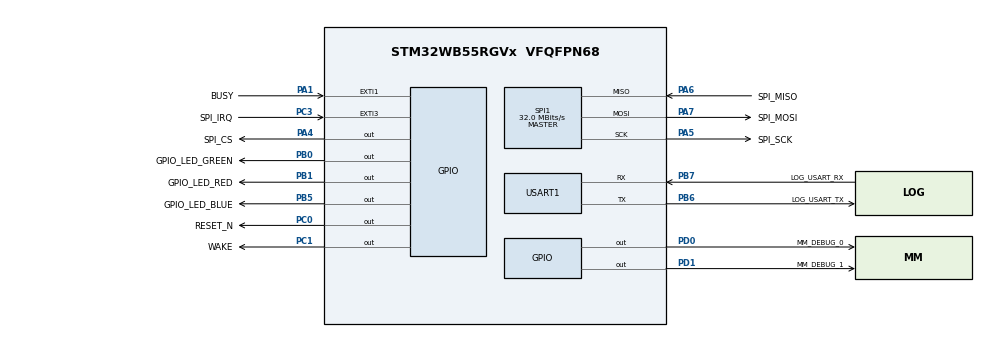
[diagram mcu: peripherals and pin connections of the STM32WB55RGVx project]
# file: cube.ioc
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Dma.Request0=SPI1_RX
Dma.Request1=SPI1_TX
Dma.SPI1_RX.0.Direction=DMA_PERIPH_TO_MEMORY
Dma.SPI1_RX.0.EventEnable=DISABLE
Dma.SPI1_RX.0.Instance=DMA1_Channel1
Dma.SPI1_RX.0.MemDataAlignment=DMA_MDATAALIGN_BYTE
Dma.SPI1_RX.0.MemInc=DMA_MINC_ENABLE
Dma.SPI1_RX.0.Mode=DMA_NORMAL
Dma.SPI1_RX.0.PeriphDataAlignment=DMA_PDATAALIGN_BYTE
Dma.SPI1_RX.0.PeriphInc=DMA_PINC_DISABLE
Dma.SPI1_RX.0.Polarity=HAL_DMAMUX_REQ_GEN_RISING
Dma.SPI1_RX.0.Priority=DMA_PRIORITY_LOW
Dma.SPI1_RX.0.RequestNumber=1
Dma.SPI1_RX.0.SignalID=NONE
Dma.SPI1_RX.0.SyncEnable=DISABLE
Dma.SPI1_RX.0.SyncPolarity=HAL_DMAMUX_SYNC_NO_EVENT
Dma.SPI1_RX.0.SyncRequestNumber=1
Dma.SPI1_RX.0.SyncSignalID=NONE
Dma.SPI1_TX.1.Direction=DMA_MEMORY_TO_PERIPH
Dma.SPI1_TX.1.EventEnable=DISABLE
Dma.SPI1_TX.1.Instance=DMA1_Channel2
Dma.SPI1_TX.1.MemDataAlignment=DMA_MDATAALIGN_BYTE
Dma.SPI1_TX.1.MemInc=DMA_MINC_ENABLE
Dma.SPI1_TX.1.Mode=DMA_NORMAL
Dma.SPI1_TX.1.PeriphDataAlignment=DMA_PDATAALIGN_BYTE
Dma.SPI1_TX.1.PeriphInc=DMA_PINC_DISABLE
Dma.SPI1_TX.1.Polarity=HAL_DMAMUX_REQ_GEN_RISING
Dma.SPI1_TX.1.Priority=DMA_PRIORITY_LOW
Dma.SPI1_TX.1.RequestNumber=1
Dma.SPI1_TX.1.SignalID=NONE
Dma.SPI1_TX.1.SyncEnable=DISABLE
Dma.SPI1_TX.1.SyncPolarity=HAL_DMAMUX_SYNC_NO_EVENT
Dma.SPI1_TX.1.SyncRequestNumber=1
Dma.SPI1_TX.1.SyncSignalID=NONE
LPTIM1.ClockPrescaler=LPTIM_PRESCALER_DIV4
Mcu.Family=STM32WB
Mcu.Name=STM32WB55RGVx
Mcu.Package=VFQFPN68
NVIC.DMA1_Channel1_IRQn=true\:15\:0\:true\:false\:false\:false\:true\:true
NVIC.EXTI1_IRQn=true\:15\:0\:true\:false\:false\:true\:true\:false
NVIC.EXTI3_IRQn=true\:15\:0\:true\:false\:false\:true\:true\:false
NVIC.LPTIM1_IRQn=true\:0\:0\:true\:false\:false\:true\:true\:true
NVIC.PriorityGroup=NVIC_PRIORITYGROUP_4
NVIC.TimeBase=None
NVIC.USART1_IRQn=true\:15\:0\:true\:false\:false\:true\:true\:true
OSC_IN.Mode=HSE-External-Oscillator
OSC_IN.Signal=RCC_OSC_IN
OSC_OUT.Mode=HSE-External-Oscillator
OSC_OUT.Signal=RCC_OSC_OUT
PA1.GPIO_Label=BUSY
PA1.GPIO_ModeDefaultEXTI=GPIO_MODE_IT_RISING
PA1.GPIO_PuPd=GPIO_PULLDOWN
PA1.Signal=GPXTI1
PA13.GPIO_Label=JTMS
PA13.Mode=Serial_Wire
PA13.Signal=SYS_JTMS-SWDIO
PA14.GPIO_Label=JTCK
PA14.Mode=Serial_Wire
PA14.Signal=SYS_JTCK-SWCLK
PA4.GPIO_Label=SPI_CS
PA4.Signal=GPIO_Output
PA5.GPIO_Label=SPI_SCK
PA5.GPIO_Speed=GPIO_SPEED_FREQ_VERY_HIGH
PA5.Mode=Full_Duplex_Master
PA5.Signal=SPI1_SCK
PA6.GPIO_Label=SPI_MISO
PA6.GPIO_Speed=GPIO_SPEED_FREQ_VERY_HIGH
PA6.Mode=Full_Duplex_Master
PA6.Signal=SPI1_MISO
PA7.GPIO_Label=SPI_MOSI
PA7.GPIO_Speed=GPIO_SPEED_FREQ_VERY_HIGH
PA7.Mode=Full_Duplex_Master
PA7.Signal=SPI1_MOSI
PB0.GPIO_Label=GPIO_LED_GREEN
PB0.Signal=GPIO_Output
PB1.GPIO_Label=GPIO_LED_RED
PB1.Signal=GPIO_Output
PB3.GPIO_Label=JTDO
PB3.Signal=SYS_JTDO-SWO
PB5.GPIO_Label=GPIO_LED_BLUE
PB5.Signal=GPIO_Output
PB6.GPIO_Label=LOG_USART_TX
PB6.GPIO_PuPd=GPIO_NOPULL
PB6.Mode=Asynchronous
PB6.Signal=USART1_TX
PB7.GPIO_Label=LOG_USART_RX
PB7.GPIO_PuPd=GPIO_NOPULL
PB7.Mode=Asynchronous
PB7.Signal=USART1_RX
PC0.GPIO_Label=RESET_N
PC0.Signal=GPIO_Output
PC1.GPIO_Label=WAKE
PC1.Signal=GPIO_Output
PC14-OSC32_IN.Mode=LSE-External-Oscillator
PC14-OSC32_IN.Signal=RCC_OSC32_IN
PC15-OSC32_OUT.Mode=LSE-External-Oscillator
PC15-OSC32_OUT.Signal=RCC_OSC32_OUT
PC3.GPIO_Label=SPI_IRQ
PC3.GPIO_ModeDefaultEXTI=GPIO_MODE_IT_FALLING
PC3.Signal=GPXTI3
PD0.GPIO_Label=MM_DEBUG_0
PD0.Signal=GPIO_Output
PD1.GPIO_Label=MM_DEBUG_1
PD1.Signal=GPIO_Output
ProjectManager.HeapSize=0x200
ProjectManager.StackSize=0x400
ProjectManager.TargetToolchain=STM32CubeIDE
RCC.ADCFreq_Value=48000000
RCC.AHB2CLKDivider=RCC_SYSCLK_DIV2
RCC.AHBFreq_Value=64000000
RCC.APB1Freq_Value=64000000
RCC.APB1TimFreq_Value=64000000
RCC.APB2Freq_Value=64000000
RCC.APB2TimFreq_Value=64000000
RCC.APB3Freq_Value=16000000
RCC.CK48CLockSelection=RCC_USBCLKSOURCE_HSI48
RCC.Cortex2_Div=SYSTICK_CLKSOURCE_HCLK_DIV8
RCC.CortexFreq_Value=64000000
RCC.HCLKFreq_Value=64000000
RCC.HSE_VALUE=32000000
RCC.HSI48_VALUE=48000000
RCC.HSI_VALUE=16000000
RCC.LPTIM1CLockSelection=RCC_LPTIM1CLKSOURCE_LSE
RCC.LSE_Drive_Capability=RCC_LSEDRIVE_LOW
RCC.PLLN=32
RCC.PLLSAI1N=24
RCC.RNGCLockSelection=RCC_RNGCLKSOURCE_CLK48
RCC.RTCClockSelection=RCC_RTCCLKSOURCE_LSE
RCC.SMPSCLockSelection=RCC_SMPSCLKSOURCE_HSI
RCC.SMPSCLockSelectionVirtual=RCC_SMPSCLKSOURCE_HSI
RCC.SMPSCLockSelectionVirtualVirtual=RCC_SMPSCLKSOURCE_HSI
RCC.SMPSDivider=1
RCC.SYSCLKFreq_VALUE=64000000
RCC.SYSCLKSource=RCC_SYSCLKSOURCE_PLLCLK
RCC.USBFreq_Value=48000000
RCC.VCOOutputFreq_Value=128000000
SPI1.BaudRatePrescaler=SPI_BAUDRATEPRESCALER_2
SPI1.CRCCalculation=SPI_CRCCALCULATION_DISABLE
SPI1.CalculateBaudRate=32.0 MBits/s
SPI1.DataSize=SPI_DATASIZE_8BIT
SPI1.Direction=SPI_DIRECTION_2LINES
SPI1.Mode=SPI_MODE_MASTER
SPI1.NSSPMode=SPI_NSS_PULSE_DISABLE
SPI1.VirtualType=VM_MASTER
USART1.VirtualMode-Asynchronous=VM_ASYNC
USART1.WordLength=WORDLENGTH_8B
VP_LPTIM1_VS_LPTIM_counterModeInternalClock.Mode=Counts__internal_clock_event_00
VP_MEMORYMAP_VS_MEMORYMAP.Mode=CurAppReg
VP_PKA_VS_PKA.Mode=PKA_Activate
VP_RNG_VS_RNG.Mode=RNG_Activate
VP_RTC_VS_RTC_Activate.Mode=RTC_Enabled
VP_SYS_VS_None.Mode=None
board=P-NUCLEO-WB55-Nucleo

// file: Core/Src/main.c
/* USER CODE BEGIN Header */
/**
  ******************************************************************************
  * @file           : main.c
  * @brief          : Main program body
  ******************************************************************************
  * @attention
  *
  * <h2><center>&copy; Copyright (c) 2022 STMicroelectronics.
  * All rights reserved.</center></h2>
  *
  * This software component is licensed by ST under Ultimate Liberty license
  * SLA0044, the "License"; You may not use this file except in compliance with
  * the License. You may obtain a copy of the License at:
  *                             www.st.com/SLA0044
  *
  ******************************************************************************
  */
/* USER CODE END Header */
#include "main.h"

/* USER CODE BEGIN Includes */
#include "mmosal.h"
/* USER CODE END Includes */

PKA_HandleTypeDef hpka;

void SystemClock_Config(void);
void PeriphCommonClock_Config(void);
static void MX_GPIO_Init(void);
static void MX_DMA_Init(void);
static void MX_USART1_UART_Init(void);
static void MX_SPI1_Init(void);
static void MX_RNG_Init(void);
static void MX_RTC_Init(void);
static void MX_LPTIM1_Init(void);
static void MX_PKA_Init(void);
/* USER CODE BEGIN PFP */
void app_init(void);
/* USER CODE END PFP */

int main(void)
{

  /* MCU Configuration--------------------------------------------------------*/

  /* Reset of all peripherals, Initializes the Flash interface and the Systick. */
  HAL_Init();

  /* Configure the system clock */
  SystemClock_Config();

  /* Configure the peripherals common clocks */
  PeriphCommonClock_Config();

  /* Initialize all configured peripherals */
  MX_GPIO_Init();
  MX_DMA_Init();
  MX_USART1_UART_Init();
  MX_SPI1_Init();
  MX_RNG_Init();
  MX_RTC_Init();
  MX_LPTIM1_Init();
  MX_PKA_Init();
  /* USER CODE BEGIN 2 */
#if defined(ENABLE_DEBUG_IN_STOP_MODE) && ENABLE_DEBUG_IN_STOP_MODE
  LL_DBGMCU_EnableDBGStopMode();
  printf("\nNote: This firmware has been built with debug in stop mode enabled.\n");
  printf("This will impact power consumption and should be disabled for production firmware.\n");
#endif
  mmosal_main(app_init);
  /* USER CODE END 2 */

  /* Infinite loop */
  while (1)
  {

  }
}

void SystemClock_Config(void)
{
  LL_FLASH_SetLatency(LL_FLASH_LATENCY_3);
  while(LL_FLASH_GetLatency() != LL_FLASH_LATENCY_3)
  {
  }

  /* HSE configuration and activation */
  LL_RCC_HSE_Enable();
  while(LL_RCC_HSE_IsReady() != 1)
  {
  }

  /* HSI configuration and activation */
  LL_RCC_HSI_Enable();
  while(LL_RCC_HSI_IsReady() != 1)
  {
  }

  /* HSI48 configuration and activation */
  LL_RCC_HSI48_Enable();
  while(LL_RCC_HSI48_IsReady() != 1)
  {
  }

  /* MSI configuration and activation */
  LL_RCC_MSI_Enable();
  while(LL_RCC_MSI_IsReady() != 1)
  {
  }

  LL_PWR_EnableBkUpAccess();
  LL_RCC_LSE_SetDriveCapability(LL_RCC_LSEDRIVE_LOW);
  LL_RCC_LSE_Enable();

  /* Wait till LSE is ready */
  while(LL_RCC_LSE_IsReady() != 1)
  {
  }

  /* Main PLL configuration and activation */
  LL_RCC_PLL_ConfigDomain_SYS(LL_RCC_PLLSOURCE_MSI, LL_RCC_PLLM_DIV_1, 32, LL_RCC_PLLR_DIV_2);
  LL_RCC_PLL_Enable();
  LL_RCC_PLL_EnableDomain_SYS();
  while(LL_RCC_PLL_IsReady() != 1)
  {
  }

  /* Sysclk activation on the main PLL */
  /* Set CPU1 prescaler*/
  LL_RCC_SetAHBPrescaler(LL_RCC_SYSCLK_DIV_1);

  /* Set CPU2 prescaler*/
  LL_C2_RCC_SetAHBPrescaler(LL_RCC_SYSCLK_DIV_2);

  LL_RCC_SetSysClkSource(LL_RCC_SYS_CLKSOURCE_PLL);
  while(LL_RCC_GetSysClkSource() != LL_RCC_SYS_CLKSOURCE_STATUS_PLL)
  {
  }

  /* Set AHB SHARED prescaler*/
  LL_RCC_SetAHB4Prescaler(LL_RCC_SYSCLK_DIV_1);

  /* Set APB1 prescaler*/
  LL_RCC_SetAPB1Prescaler(LL_RCC_APB1_DIV_1);

  /* Set APB2 prescaler*/
  LL_RCC_SetAPB2Prescaler(LL_RCC_APB2_DIV_1);

  /* Update CMSIS variable (which can be updated also through SystemCoreClockUpdate function) */
  LL_SetSystemCoreClock(64000000);

   /* Update the time base */
  if (HAL_InitTick (TICK_INT_PRIORITY) != HAL_OK)
  {
    Error_Handler();
  }
}

void PeriphCommonClock_Config(void)
{
  LL_RCC_SetSMPSClockSource(LL_RCC_SMPS_CLKSOURCE_HSI);
  LL_RCC_SetSMPSPrescaler(LL_RCC_SMPS_DIV_0);
  LL_RCC_SetRFWKPClockSource(LL_RCC_RFWKP_CLKSOURCE_NONE);
}

static void MX_LPTIM1_Init(void)
{

  LL_RCC_SetLPTIMClockSource(LL_RCC_LPTIM1_CLKSOURCE_LSE);

  /* Peripheral clock enable */
  LL_APB1_GRP1_EnableClock(LL_APB1_GRP1_PERIPH_LPTIM1);

  /* LPTIM1 interrupt Init */
  NVIC_SetPriority(LPTIM1_IRQn, NVIC_EncodePriority(NVIC_GetPriorityGrouping(),0, 0));
  NVIC_EnableIRQ(LPTIM1_IRQn);

  LL_LPTIM_SetClockSource(LPTIM1, LL_LPTIM_CLK_SOURCE_INTERNAL);
  LL_LPTIM_SetPrescaler(LPTIM1, LL_LPTIM_PRESCALER_DIV4);
  LL_LPTIM_SetPolarity(LPTIM1, LL_LPTIM_OUTPUT_POLARITY_REGULAR);
  LL_LPTIM_SetUpdateMode(LPTIM1, LL_LPTIM_UPDATE_MODE_IMMEDIATE);
  LL_LPTIM_SetCounterMode(LPTIM1, LL_LPTIM_COUNTER_MODE_INTERNAL);
  LL_LPTIM_TrigSw(LPTIM1);
  LL_LPTIM_SetInput1Src(LPTIM1, LL_LPTIM_INPUT1_SRC_GPIO);
  LL_LPTIM_SetInput2Src(LPTIM1, LL_LPTIM_INPUT2_SRC_GPIO);
  /* USER CODE BEGIN LPTIM1_Init 2 */

  /* Must be done when the LPTIM is disabled. */
  LL_LPTIM_EnableIT_CMPM(LPTIM1);

  /* We enable the LPTIM in continuous mode and leave it running. We then use the compare match
   * functionality for tracking time whilst in deep sleep. This avoids having to wait the
   * synchronisation delay (3 cycles). */
  LL_LPTIM_Enable(LPTIM1);

  LL_LPTIM_ClearFlag_ARROK(LPTIM1);
  LL_LPTIM_SetAutoReload(LPTIM1, UINT16_MAX);
  while (!LL_LPTIM_IsActiveFlag_ARROK(LPTIM1))
  {
  }

  LL_LPTIM_StartCounter(LPTIM1, LL_LPTIM_OPERATING_MODE_CONTINUOUS);

  /* USER CODE END LPTIM1_Init 2 */

}

static void MX_PKA_Init(void)
{

  hpka.Instance = PKA;
  if (HAL_PKA_Init(&hpka) != HAL_OK)
  {
    Error_Handler();
  }

}

static void MX_RNG_Init(void)
{

  LL_RCC_SetRNGClockSource(LL_RCC_RNG_CLKSOURCE_CLK48);
  LL_RCC_SetCLK48ClockSource(LL_RCC_CLK48_CLKSOURCE_HSI48);

  /* Peripheral clock enable */
  LL_AHB3_GRP1_EnableClock(LL_AHB3_GRP1_PERIPH_RNG);

  LL_RNG_Enable(RNG);
  LL_RNG_EnableClkErrorDetect(RNG);

}

static void MX_RTC_Init(void)
{

  LL_RTC_InitTypeDef RTC_InitStruct = {0};

     uint32_t rtcclocksource = LL_RCC_GetRTCClockSource();

    /* Configure the clock source only if a different source is expected */
    if(rtcclocksource != LL_RCC_RTC_CLKSOURCE_LSE)
    {
      LL_PWR_EnableBkUpAccess();
      if(rtcclocksource == LL_RCC_RTC_CLKSOURCE_NONE)
      {
        /* Directly set the configuration of the clock source selection */
        LL_RCC_SetRTCClockSource(LL_RCC_RTC_CLKSOURCE_LSE);
      }
     else
     {
      /* Store the content of BDCR register before the reset of Backup Domain */
      uint32_t bdcr = LL_RCC_ReadReg(BDCR);

      /* RTC Clock selection can be changed only if the Backup Domain is reset */
      LL_RCC_ForceBackupDomainReset();
      LL_RCC_ReleaseBackupDomainReset();

      /* Set the value of the clock source selection */
      MODIFY_REG(bdcr, RCC_BDCR_RTCSEL, LL_RCC_RTC_CLKSOURCE_LSE);

      /* Restore the content of BDCR register */
      LL_RCC_WriteReg(BDCR, bdcr);

      /* Wait for LSE reactivation if LSE was enable prior to Backup Domain reset */
      if (LL_RCC_LSE_IsEnabled() == 1U)
      {
        /* Wait till LSE is ready */
        while (LL_RCC_LSE_IsReady() != 1U);
      }
    }
  }
  LL_RCC_EnableRTC();

  /* Peripheral clock enable */
  LL_RCC_EnableRTC();
  LL_APB2_GRP1_EnableClock(LL_APB1_GRP1_PERIPH_RTCAPB);

  RTC_InitStruct.HourFormat = LL_RTC_HOURFORMAT_24HOUR;
  RTC_InitStruct.AsynchPrescaler = 127;
  RTC_InitStruct.SynchPrescaler = 255;
  LL_RTC_Init(RTC, &RTC_InitStruct);

}

static void MX_SPI1_Init(void)
{

  LL_SPI_InitTypeDef SPI_InitStruct = {0};

  LL_GPIO_InitTypeDef GPIO_InitStruct = {0};

  /* Peripheral clock enable */
  LL_APB2_GRP1_EnableClock(LL_APB2_GRP1_PERIPH_SPI1);

  LL_AHB2_GRP1_EnableClock(LL_AHB2_GRP1_PERIPH_GPIOA);
  /**SPI1 GPIO Configuration
  PA5   ------> SPI1_SCK
  PA6   ------> SPI1_MISO
  PA7   ------> SPI1_MOSI
  */
  GPIO_InitStruct.Pin = SPI_SCK_Pin|SPI_MISO_Pin|SPI_MOSI_Pin;
  GPIO_InitStruct.Mode = LL_GPIO_MODE_ALTERNATE;
  GPIO_InitStruct.Speed = LL_GPIO_SPEED_FREQ_VERY_HIGH;
  GPIO_InitStruct.OutputType = LL_GPIO_OUTPUT_PUSHPULL;
  GPIO_InitStruct.Pull = LL_GPIO_PULL_NO;
  GPIO_InitStruct.Alternate = LL_GPIO_AF_5;
  LL_GPIO_Init(GPIOA, &GPIO_InitStruct);

  /* SPI1 DMA Init */

  /* SPI1_RX Init */
  LL_DMA_SetPeriphRequest(DMA1, LL_DMA_CHANNEL_1, LL_DMAMUX_REQ_SPI1_RX);

  LL_DMA_SetDataTransferDirection(DMA1, LL_DMA_CHANNEL_1, LL_DMA_DIRECTION_PERIPH_TO_MEMORY);

  LL_DMA_SetChannelPriorityLevel(DMA1, LL_DMA_CHANNEL_1, LL_DMA_PRIORITY_LOW);

  LL_DMA_SetMode(DMA1, LL_DMA_CHANNEL_1, LL_DMA_MODE_NORMAL);

  LL_DMA_SetPeriphIncMode(DMA1, LL_DMA_CHANNEL_1, LL_DMA_PERIPH_NOINCREMENT);

  LL_DMA_SetMemoryIncMode(DMA1, LL_DMA_CHANNEL_1, LL_DMA_MEMORY_INCREMENT);

  LL_DMA_SetPeriphSize(DMA1, LL_DMA_CHANNEL_1, LL_DMA_PDATAALIGN_BYTE);

  LL_DMA_SetMemorySize(DMA1, LL_DMA_CHANNEL_1, LL_DMA_MDATAALIGN_BYTE);

  /* SPI1_TX Init */
  LL_DMA_SetPeriphRequest(DMA1, LL_DMA_CHANNEL_2, LL_DMAMUX_REQ_SPI1_TX);

  LL_DMA_SetDataTransferDirection(DMA1, LL_DMA_CHANNEL_2, LL_DMA_DIRECTION_MEMORY_TO_PERIPH);

  LL_DMA_SetChannelPriorityLevel(DMA1, LL_DMA_CHANNEL_2, LL_DMA_PRIORITY_LOW);

  LL_DMA_SetMode(DMA1, LL_DMA_CHANNEL_2, LL_DMA_MODE_NORMAL);

  LL_DMA_SetPeriphIncMode(DMA1, LL_DMA_CHANNEL_2, LL_DMA_PERIPH_NOINCREMENT);

  LL_DMA_SetMemoryIncMode(DMA1, LL_DMA_CHANNEL_2, LL_DMA_MEMORY_INCREMENT);

  LL_DMA_SetPeriphSize(DMA1, LL_DMA_CHANNEL_2, LL_DMA_PDATAALIGN_BYTE);

  LL_DMA_SetMemorySize(DMA1, LL_DMA_CHANNEL_2, LL_DMA_MDATAALIGN_BYTE);

  /* USER CODE BEGIN SPI1_Init 1 */
  LL_DMA_EnableIT_TC(SPI_DMA_PERIPH, SPI_RX_DMA_CHANNEL);
  /* USER CODE END SPI1_Init 1 */
  /* SPI1 parameter configuration*/
  SPI_InitStruct.TransferDirection = LL_SPI_FULL_DUPLEX;
  SPI_InitStruct.Mode = LL_SPI_MODE_MASTER;
  SPI_InitStruct.DataWidth = LL_SPI_DATAWIDTH_8BIT;
  SPI_InitStruct.ClockPolarity = LL_SPI_POLARITY_LOW;
  SPI_InitStruct.ClockPhase = LL_SPI_PHASE_1EDGE;
  SPI_InitStruct.NSS = LL_SPI_NSS_SOFT;
  SPI_InitStruct.BaudRate = LL_SPI_BAUDRATEPRESCALER_DIV2;
  SPI_InitStruct.BitOrder = LL_SPI_MSB_FIRST;
  SPI_InitStruct.CRCCalculation = LL_SPI_CRCCALCULATION_DISABLE;
  SPI_InitStruct.CRCPoly = 7;
  LL_SPI_Init(SPI1, &SPI_InitStruct);
  LL_SPI_SetStandard(SPI1, LL_SPI_PROTOCOL_MOTOROLA);
  LL_SPI_DisableNSSPulseMgt(SPI1);

}

static void MX_USART1_UART_Init(void)
{

  LL_USART_InitTypeDef USART_InitStruct = {0};

  LL_GPIO_InitTypeDef GPIO_InitStruct = {0};

  LL_RCC_SetUSARTClockSource(LL_RCC_USART1_CLKSOURCE_PCLK2);

  /* Peripheral clock enable */
  LL_APB2_GRP1_EnableClock(LL_APB2_GRP1_PERIPH_USART1);

  LL_AHB2_GRP1_EnableClock(LL_AHB2_GRP1_PERIPH_GPIOB);
  /**USART1 GPIO Configuration
  PB6   ------> USART1_TX
  PB7   ------> USART1_RX
  */
  GPIO_InitStruct.Pin = LOG_USART_TX_Pin|LOG_USART_RX_Pin;
  GPIO_InitStruct.Mode = LL_GPIO_MODE_ALTERNATE;
  GPIO_InitStruct.Speed = LL_GPIO_SPEED_FREQ_LOW;
  GPIO_InitStruct.OutputType = LL_GPIO_OUTPUT_PUSHPULL;
  GPIO_InitStruct.Pull = LL_GPIO_PULL_NO;
  GPIO_InitStruct.Alternate = LL_GPIO_AF_7;
  LL_GPIO_Init(GPIOB, &GPIO_InitStruct);

  /* USART1 interrupt Init */
  NVIC_SetPriority(USART1_IRQn, NVIC_EncodePriority(NVIC_GetPriorityGrouping(),15, 0));
  NVIC_EnableIRQ(USART1_IRQn);

  USART_InitStruct.PrescalerValue = LL_USART_PRESCALER_DIV1;
  USART_InitStruct.BaudRate = 115200;
  USART_InitStruct.DataWidth = LL_USART_DATAWIDTH_8B;
  USART_InitStruct.StopBits = LL_USART_STOPBITS_1;
  USART_InitStruct.Parity = LL_USART_PARITY_NONE;
  USART_InitStruct.TransferDirection = LL_USART_DIRECTION_TX_RX;
  USART_InitStruct.HardwareFlowControl = LL_USART_HWCONTROL_NONE;
  USART_InitStruct.OverSampling = LL_USART_OVERSAMPLING_16;
  LL_USART_Init(USART1, &USART_InitStruct);
  LL_USART_SetTXFIFOThreshold(USART1, LL_USART_FIFOTHRESHOLD_1_8);
  LL_USART_SetRXFIFOThreshold(USART1, LL_USART_FIFOTHRESHOLD_1_8);
  LL_USART_DisableFIFO(USART1);
  LL_USART_ConfigAsyncMode(USART1);

  LL_USART_Enable(USART1);

  /* Polling USART1 initialisation */
  while((!(LL_USART_IsActiveFlag_TEACK(USART1))) || (!(LL_USART_IsActiveFlag_REACK(USART1))))
  {
  }

}

static void MX_DMA_Init(void)
{

  /* Init with LL driver */
  /* DMA controller clock enable */
  LL_AHB1_GRP1_EnableClock(LL_AHB1_GRP1_PERIPH_DMAMUX1);
  LL_AHB1_GRP1_EnableClock(LL_AHB1_GRP1_PERIPH_DMA1);

  /* DMA interrupt init */
  /* DMA1_Channel1_IRQn interrupt configuration */
  NVIC_SetPriority(DMA1_Channel1_IRQn, NVIC_EncodePriority(NVIC_GetPriorityGrouping(),15, 0));
  NVIC_EnableIRQ(DMA1_Channel1_IRQn);

}

static void MX_GPIO_Init(void)
{
  LL_EXTI_InitTypeDef EXTI_InitStruct = {0};
  LL_GPIO_InitTypeDef GPIO_InitStruct = {0};

  /* GPIO Ports Clock Enable */
  LL_AHB2_GRP1_EnableClock(LL_AHB2_GRP1_PERIPH_GPIOC);
  LL_AHB2_GRP1_EnableClock(LL_AHB2_GRP1_PERIPH_GPIOA);
  LL_AHB2_GRP1_EnableClock(LL_AHB2_GRP1_PERIPH_GPIOB);
  LL_AHB2_GRP1_EnableClock(LL_AHB2_GRP1_PERIPH_GPIOD);

  /**/
  LL_GPIO_ResetOutputPin(GPIOC, RESET_N_Pin|WAKE_Pin);

  /**/
  LL_GPIO_ResetOutputPin(SPI_CS_GPIO_Port, SPI_CS_Pin);

  /**/
  LL_GPIO_ResetOutputPin(GPIOB, GPIO_LED_GREEN_Pin|GPIO_LED_RED_Pin|GPIO_LED_BLUE_Pin);

  /**/
  LL_GPIO_ResetOutputPin(GPIOD, MM_DEBUG_0_Pin|MM_DEBUG_1_Pin);

  /**/
  GPIO_InitStruct.Pin = RESET_N_Pin|WAKE_Pin;
  GPIO_InitStruct.Mode = LL_GPIO_MODE_OUTPUT;
  GPIO_InitStruct.Speed = LL_GPIO_SPEED_FREQ_LOW;
  GPIO_InitStruct.OutputType = LL_GPIO_OUTPUT_PUSHPULL;
  GPIO_InitStruct.Pull = LL_GPIO_PULL_NO;
  LL_GPIO_Init(GPIOC, &GPIO_InitStruct);

  /**/
  GPIO_InitStruct.Pin = SPI_CS_Pin;
  GPIO_InitStruct.Mode = LL_GPIO_MODE_OUTPUT;
  GPIO_InitStruct.Speed = LL_GPIO_SPEED_FREQ_LOW;
  GPIO_InitStruct.OutputType = LL_GPIO_OUTPUT_PUSHPULL;
  GPIO_InitStruct.Pull = LL_GPIO_PULL_NO;
  LL_GPIO_Init(SPI_CS_GPIO_Port, &GPIO_InitStruct);

  /**/
  GPIO_InitStruct.Pin = GPIO_LED_GREEN_Pin|GPIO_LED_RED_Pin|GPIO_LED_BLUE_Pin;
  GPIO_InitStruct.Mode = LL_GPIO_MODE_OUTPUT;
  GPIO_InitStruct.Speed = LL_GPIO_SPEED_FREQ_LOW;
  GPIO_InitStruct.OutputType = LL_GPIO_OUTPUT_PUSHPULL;
  GPIO_InitStruct.Pull = LL_GPIO_PULL_NO;
  LL_GPIO_Init(GPIOB, &GPIO_InitStruct);

  /**/
  GPIO_InitStruct.Pin = MM_DEBUG_0_Pin|MM_DEBUG_1_Pin;
  GPIO_InitStruct.Mode = LL_GPIO_MODE_OUTPUT;
  GPIO_InitStruct.Speed = LL_GPIO_SPEED_FREQ_LOW;
  GPIO_InitStruct.OutputType = LL_GPIO_OUTPUT_PUSHPULL;
  GPIO_InitStruct.Pull = LL_GPIO_PULL_NO;
  LL_GPIO_Init(GPIOD, &GPIO_InitStruct);

  /**/
  LL_SYSCFG_SetEXTISource(LL_SYSCFG_EXTI_PORTC, LL_SYSCFG_EXTI_LINE3);

  /**/
  LL_SYSCFG_SetEXTISource(LL_SYSCFG_EXTI_PORTA, LL_SYSCFG_EXTI_LINE1);

  /**/
  EXTI_InitStruct.Line_0_31 = LL_EXTI_LINE_3;
  EXTI_InitStruct.Line_32_63 = LL_EXTI_LINE_NONE;
  EXTI_InitStruct.LineCommand = ENABLE;
  EXTI_InitStruct.Mode = LL_EXTI_MODE_IT;
  EXTI_InitStruct.Trigger = LL_EXTI_TRIGGER_FALLING;
  LL_EXTI_Init(&EXTI_InitStruct);

  /**/
  EXTI_InitStruct.Line_0_31 = LL_EXTI_LINE_1;
  EXTI_InitStruct.Line_32_63 = LL_EXTI_LINE_NONE;
  EXTI_InitStruct.LineCommand = ENABLE;
  EXTI_InitStruct.Mode = LL_EXTI_MODE_IT;
  EXTI_InitStruct.Trigger = LL_EXTI_TRIGGER_RISING;
  LL_EXTI_Init(&EXTI_InitStruct);

  /**/
  LL_GPIO_SetPinPull(SPI_IRQ_GPIO_Port, SPI_IRQ_Pin, LL_GPIO_PULL_NO);

  /**/
  LL_GPIO_SetPinPull(BUSY_GPIO_Port, BUSY_Pin, LL_GPIO_PULL_DOWN);

  /**/
  LL_GPIO_SetPinMode(SPI_IRQ_GPIO_Port, SPI_IRQ_Pin, LL_GPIO_MODE_INPUT);

  /**/
  LL_GPIO_SetPinMode(BUSY_GPIO_Port, BUSY_Pin, LL_GPIO_MODE_INPUT);

  /* EXTI interrupt init*/
  NVIC_SetPriority(EXTI1_IRQn, NVIC_EncodePriority(NVIC_GetPriorityGrouping(),15, 0));
  NVIC_SetPriority(EXTI3_IRQn, NVIC_EncodePriority(NVIC_GetPriorityGrouping(),15, 0));

}

void Error_Handler(void)
{
  /* USER CODE BEGIN Error_Handler_Debug */
  /* User can add his own implementation to report the HAL error return state */
  __disable_irq();
  while (1)
  {
    MMPORT_BREAKPOINT();
  }
  /* USER CODE END Error_Handler_Debug */
}
